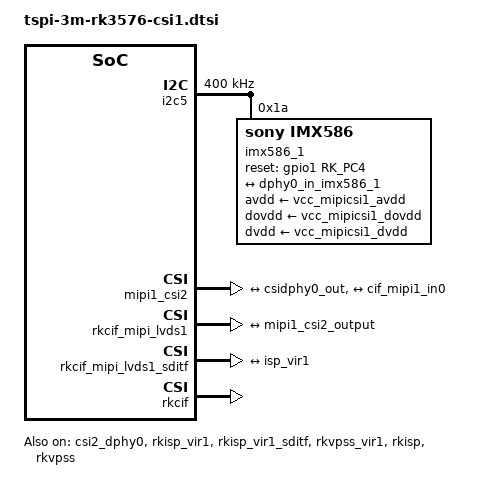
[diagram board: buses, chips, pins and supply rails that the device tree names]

/********************************************************************
 * SPDX-License-Identifier: (GPL-2.0+ OR MIT)
 * 
 * Copyright (c) 2023 Rockchip Electronics Co., Ltd.
 * Copyright (c) 2026 LCKFB <lckfb@sz-jlc.com>
 *********************************************************************
 * Wiki-(Chinese)：https://wiki.lckfb.com/
 * Wiki-(English)：https://wiki.lckfb.com/en/
 *********************************************************************/

/*-----------------------------------------------------------
 * Camera Power Enable
 *----------------------------------------------------------*/
&vcc_1v2_mipi_csi {
	status = "okay";
};

&vcc_1v8_mipi_csi {
    status = "okay";
};

&vcc_2v8_mipi_csi {
    status = "okay";
};

/*-----------------------------------------------------------
 * Camera Link Configuration
 *----------------------------------------------------------*/
&i2c5 {
	status = "okay";
	pinctrl-names = "default";
	pinctrl-0 = <&i2c5m3_xfer>;
	clock-frequency = <400000>;

	imx586_1: camera@1a {
		compatible = "sony,imx586";
		reg = <0x1a>;

		clocks = <&cru CLK_MIPI_CAMERAOUT_M1>;
		clock-names = "xvclk";
		pinctrl-names = "default";
		pinctrl-0 = <&cam_clk1m0_clk1>;
		power-domains = <&power RK3576_PD_VI>;

		avdd-supply = <&vcc_mipicsi1_avdd>;
		dovdd-supply = <&vcc_mipicsi1_dovdd>;
		dvdd-supply = <&vcc_mipicsi1_dvdd>;

		reset-gpios = <&gpio1 RK_PC4 GPIO_ACTIVE_HIGH>;

		rockchip,camera-module-index = <1>;
		rockchip,camera-module-facing = "back";
		rockchip,camera-module-name = "default";
		rockchip,camera-module-lens-name = "default";
		rockchip,camera-hdr-mode = <0>;
		/* Free-running until the external MCU XVS source is installed. */

		port {
			imx586_1_out: endpoint {
				remote-endpoint = <&dphy0_in_imx586_1>;
				data-lanes = <1 2 3 4>;
			};
		};
	};
};

&csi2_dphy0 {
	status = "okay";

	ports {
		#address-cells = <1>;
		#size-cells = <0>;
		port@0 {
			reg = <0>;
			#address-cells = <1>;
			#size-cells = <0>;

			dphy0_in_imx586_1: endpoint@1 {
				reg = <1>;
				remote-endpoint = <&imx586_1_out>;
				data-lanes = <1 2 3 4>;
			};
		};
		port@1 {
			reg = <1>;
			#address-cells = <1>;
			#size-cells = <0>;

			csidphy0_out: endpoint@0 {
				reg = <0>;
				remote-endpoint = <&mipi1_csi2_input>;
			};
		};
	};
};

&mipi1_csi2 {
	status = "okay";

	ports {
		#address-cells = <1>;
		#size-cells = <0>;

		port@0 {
			reg = <0>;
			#address-cells = <1>;
			#size-cells = <0>;

			mipi1_csi2_input: endpoint@1 {
				reg = <1>;
				remote-endpoint = <&csidphy0_out>;
			};
		};

		port@1 {
			reg = <1>;
			#address-cells = <1>;
			#size-cells = <0>;

			mipi1_csi2_output: endpoint@0 {
				reg = <0>;
				remote-endpoint = <&cif_mipi1_in0>;
			};
		};
	};
};

&rkcif_mipi_lvds1 {
	status = "okay";

	port {
		cif_mipi1_in0: endpoint {
			remote-endpoint = <&mipi1_csi2_output>;
		};
	};
};

&rkcif_mipi_lvds1_sditf {
	status = "okay";

	port {
		mipi1_lvds_sditf: endpoint {
			remote-endpoint = <&isp_vir1>;
		};
	};
};

&rkisp_vir1 {
	status = "okay";

	port {
		#address-cells = <1>;
		#size-cells = <0>;

		isp_vir1: endpoint@0 {
			reg = <0>;
			remote-endpoint = <&mipi1_lvds_sditf>;
		};
	};
};

/*-----------------------------------------------------------
 * MIPI-CSI-1 Link Virtual Interface Enable
 *----------------------------------------------------------*/
&rkisp_vir1_sditf {
	status = "okay";
};

&rkvpss_vir1 {
	status = "okay";
};

/*-----------------------------------------------------------
 * General Configuration
 *----------------------------------------------------------*/
&rkcif {
	status = "okay";
};

&rkcif_mmu {
	status = "okay";
};

&rkisp {
	status = "okay";
};

&rkisp_mmu {
	status = "okay";
};

&rkvpss {
	status = "okay";
};

&rkvpss_mmu {
	status = "okay";
};
